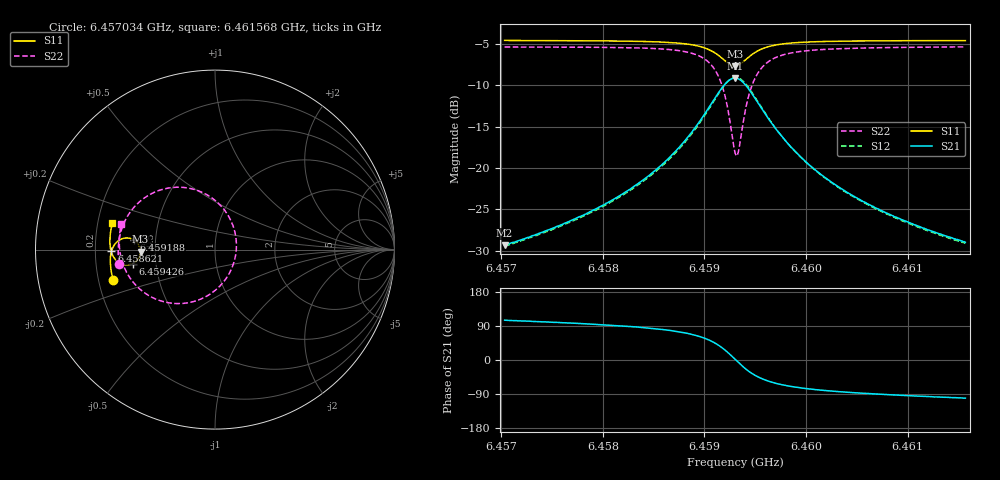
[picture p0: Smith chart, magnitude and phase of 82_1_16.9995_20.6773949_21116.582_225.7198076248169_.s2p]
#  HZ  S  RI  R  50.00
! Rohde & Schwarz Vector Network Analyzer
! Rohde-Schwarz,ZNB20-2Port,1311601062101988,3.16
! Created: UTC 3/20/2024, 10:55:45 PM
! freq[Hz]  re:S11  im:S11  re:S21  im:S21  re:S12  im:S12  re:S22  im:S22
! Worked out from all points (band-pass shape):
!   401 points, 6.457034 GHz to 6.461568 GHz, reference 50 ohm
!   highest |S21| = -9.11 dB at 6.459301 GHz (marker M1); lowest = -29.4 dB at 6.457034 GHz (marker M2)
!   |S21| within 3 dB of the highest: 6.459074 GHz to 6.459527 GHz (453.6 kHz wide, 0.00702 % of centre)
!   lowest |S11| = -7.6 dB at 6.459301 GHz (marker M3), VSWR 2.42, Z = 20.7 - j0.532 ohm
!   |S11| at or under -10 dB: nowhere
!   |S22| runs from -18.5 to -5.3 dB; largest |S21 - S12| = 0.014
!   S11 on the Smith chart (normalised r, x): 6.457034 GHz: 0.26, -0.14; 6.458621 GHz: 0.27, -0.01; 6.459188 GHz: 0.38, +0.05; 6.459426 GHz: 0.37, -0.07; 6.461568 GHz: 0.26, +0.12
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6.4570345e9  -0.5673 -0.1691  -0.00888 0.0329  -0.00699 0.0329  -0.5344 -0.0789
6.4577938e9  -0.5809 -0.1025  -0.00529 0.0512  -0.00274 0.0506  -0.5387 0.0109
6.4582017e9  -0.5835 -0.0615  0.000656 0.0701  0.00367 0.0688  -0.5305 0.076
6.458553e9  -0.5794 -0.0191  0.0149 0.1001  0.0189 0.0974  -0.5036 0.156
6.458621e9  -0.5771 -0.00962  0.0204 0.1085  0.0244 0.1053  -0.4934 0.176
6.4588137e9  -0.5642 0.021  0.0473 0.1399  0.0514 0.1349  -0.4427 0.2455
6.458961e9  -0.5412 0.0473  0.0935 0.1706  0.0966 0.1638  -0.3576 0.3098
6.459097e9  -0.4966 0.0647  0.1821 0.1869  0.183 0.1796  -0.1957 0.3475
6.4591877e9  -0.4511 0.054  0.2734 0.1546  0.2736 0.1489  -0.0272 0.2948
6.4592557e9  -0.4218 0.021  0.3343 0.0813  0.3363 0.076  0.0883 0.162
6.459301e9  -0.4149 -0.0107  0.3501 0.0121  0.3541 0.0052  0.1194 0.0329
6.4593123e9  -0.4153 -0.0188  0.3497 -0.0058  0.3539 -0.0136  0.1186 -0.00104
6.459335e9  -0.419 -0.0348  0.3439 -0.0408  0.3479 -0.0502  0.1065 -0.0675
6.4593803e9  -0.435 -0.0613  0.3145 -0.1013  0.3167 -0.1135  0.0468 -0.1814
6.4594256e9  -0.4575 -0.0779  0.2716 -0.1426  0.2706 -0.156  -0.04 -0.256
6.4595163e9  -0.5015 -0.0847  0.1856 -0.1734  0.1793 -0.185  -0.211 -0.3007
6.4596636e9  -0.5458 -0.0642  0.0969 -0.1589  0.0882 -0.1651  -0.3797 -0.2495
6.4598223e9  -0.5679 -0.0364  0.0516 -0.1305  0.0439 -0.1333  -0.4602 -0.1764
6.4600603e9  -0.5807 -0.00101  0.0224 -0.0985  0.0165 -0.099  -0.508 -0.0933
6.4604002e9  -0.5855 0.0399  0.00626 -0.0712  0.00216 -0.0708  -0.5293 -0.0139
6.4608196e9  -0.5837 0.0822  -0.00146 -0.0524  -0.00432 -0.0516  -0.5335 0.0541
6.4615675e9  -0.5719 0.1487  -0.00654 -0.0349  -0.00824 -0.0341  -0.5222 0.1433
